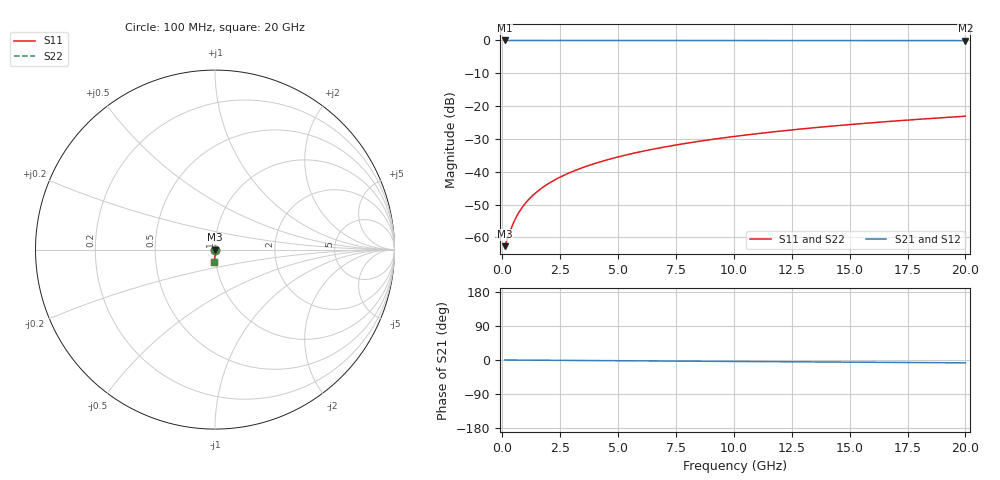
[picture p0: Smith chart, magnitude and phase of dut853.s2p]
! Touchstone file exported from HFSS 2026.1.0
!  File:  C:/ffzhzh/LocalFiles/Ansys_Project_Files/temp_train_TSV_853_1783185178_55132.aedt
!  Generated:  01:14:34 AM Jul  5, 2026
!  Design:  TSV
!  Project:  temp_train_TSV_853_1783185178_55132
! Variables:
!  h_bsmrdl = 2um
!  h_ox = 20um
!  h_rdl = 5um
!  h_sub = 68.3um
!  h_tmrdl = 5um
!  h_tsv = 68.3um
!  h_via = 3um
!  l_bsmrdl = 300um
!  l_sub = 406.96um
!  l_tmrdl = 200um
!  m_sub = 200um
!  pitch = 8.78um
!  r_tsv = 3.48um
!  s_tmrdl = 10um
!  w_bsmrdl = 18um
!  w_sub = 500um
!  w_tmrdl = 12um
!  x_tsv_center1 = 206um
!  x_tsv_center2 = 524um
!  x_tsv_center3 = 736um
!  x_tsv_center4 = 1054um
!  x_tsv_center5 = 1266um
!  x_tsv_center6 = 1584um
# GHz S MA R 50.000000
! Terminal data exported
! Port[1] = TSV1_1_T1
! Port[2] = TSV1_1_T2
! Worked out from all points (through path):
!   200 points, 100 MHz to 20 GHz, reference 50 ohm
!   highest |S21| = -0.01 dB at 100 MHz (marker M1); lowest = -0.1 dB at 20 GHz (marker M2)
!   group delay of S21, straight-line fit = 1.04 ps
!   lowest |S11| = -62.6 dB at 100 MHz (marker M3), VSWR 1.00, Z = 50.1 - j0.0274 ohm
!   |S11| at or under -10 dB: start of sweep to end of sweep
!   |S22| runs from -62.6 to -23.1 dB; largest |S21 - S12| = 4.2e-15
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0.1  0.0007371 -21.8  0.9993 -0.0  0.9993 -0.0  0.0007371 -21.8
! Gamma 0 0 0 0
! Port Impedance 50 0 50 0
0.4  0.001424 -56.3  0.9992 -0.2  0.9992 -0.2  0.001424 -56.3
0.5  0.001722 -61.5  0.9992 -0.2  0.9992 -0.2  0.001722 -61.5
0.6  0.002033 -65.4  0.9991 -0.2  0.9991 -0.2  0.002033 -65.4
0.7  0.00235 -68.4  0.9991 -0.3  0.9991 -0.3  0.00235 -68.4
0.9  0.002998 -72.6  0.9991 -0.4  0.9991 -0.4  0.002998 -72.6
1.2  0.003982 -76.6  0.999 -0.5  0.999 -0.5  0.003982 -76.6
1.4  0.004642 -78.4  0.999 -0.5  0.999 -0.5  0.004642 -78.4
1.7  0.005637 -80.3  0.999 -0.7  0.999 -0.7  0.005637 -80.3
2.2  0.007304 -82.3  0.9989 -0.9  0.9989 -0.9  0.007304 -82.3
2.8  0.009319 -83.9  0.9988 -1.1  0.9988 -1.1  0.009319 -83.9
3.5  0.01169 -85.0  0.9986 -1.4  0.9986 -1.4  0.01169 -85.0
4.2  0.01408 -85.8  0.9985 -1.6  0.9985 -1.6  0.01408 -85.8
5  0.01684 -86.6  0.9983 -1.9  0.9983 -1.9  0.01684 -86.6
5.9  0.01997 -87.3  0.9981 -2.3  0.9981 -2.3  0.01997 -87.3
6.8  0.02312 -87.9  0.9978 -2.6  0.9978 -2.6  0.02312 -87.9
8.3  0.02843 -88.8  0.9974 -3.2  0.9974 -3.2  0.02843 -88.8
10.1  0.03483 -89.8  0.9969 -3.8  0.9969 -3.8  0.03483 -89.8
11.7  0.04055 -90.6  0.9965 -4.4  0.9965 -4.4  0.04055 -90.6
13.4  0.04663 -91.5  0.996 -5.1  0.996 -5.1  0.04663 -91.5
16.7  0.05843 -93.1  0.995 -6.3  0.995 -6.3  0.05843 -93.1
20  0.07021 -94.5  0.9939 -7.5  0.9939 -7.5  0.07021 -94.5
